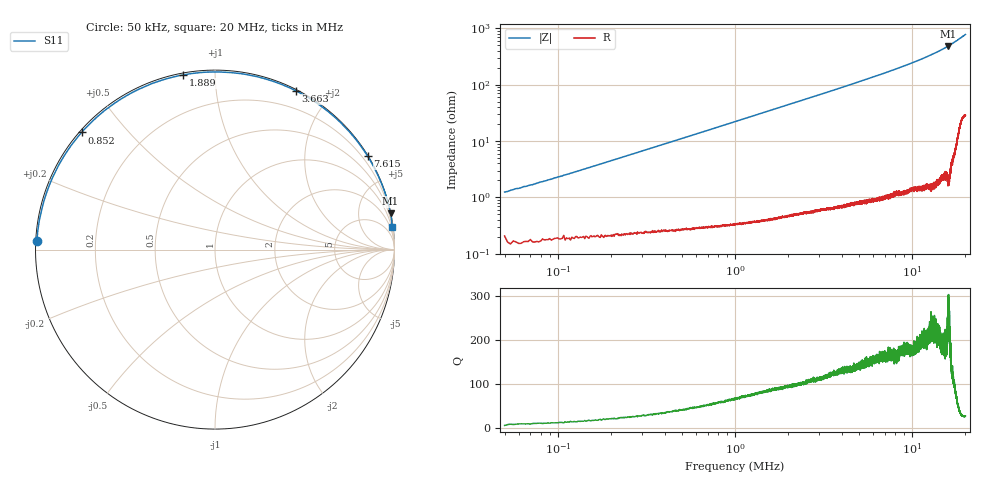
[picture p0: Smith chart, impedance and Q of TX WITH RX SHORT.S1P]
!Keysight Technologies,E5063A,MY54100949,A.07.30
!Date: Thu Dec 18 19:18:37 2025
!Data & Calibration Information:
!Freq	S11:SOLT1(ON)
# Hz S RI R 50
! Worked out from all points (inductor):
!   10001 points, 50 kHz to 20 MHz, reference 50 ohm
!   read as one part to ground: L = 3.56 uH near 149.8 kHz
!   highest Q = 258 at 15.98 MHz (marker M1), where L = 4.86 uH
!   S11 on the Smith chart (normalised r, x): 50 kHz: 0.00, +0.02; 852 kHz: 0.01, +0.38; 1.889 MHz: 0.01, +0.84; 3.663 MHz: 0.01, +1.63; 7.615 MHz: 0.02, +3.55; 20 MHz: 1, +16
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50000  -0.9906 0.0487
131795  -0.9854 0.1177
271445  -0.962 0.2369
419075  -0.924 0.3566
642515  -0.8411 0.521
851990  -0.7429 0.6526
1097375  -0.6121 0.7767
1346750  -0.4716 0.8695
1602110  -0.3285 0.933
1889390  -0.1762 0.9736
2196620  -0.0278 0.9892
2543750  0.118 0.9832
2809085  0.2147 0.9678
3082400  0.3018 0.9448
3662945  0.4509 0.8844
4303340  0.572 0.8128
5037500  0.6714 0.7339
5566175  0.7248 0.6819
6140735  0.771 0.6304
7531250  0.8469 0.5253
7615040  0.8507 0.5199
8686355  0.8871 0.4559
1.0025e7  0.9182 0.3902
1.251875e7  0.9535 0.2966
1.50125e7  0.9728 0.2265
1.597608e7  0.9785 0.2027
1.750625e7  0.9833 0.1705
2e7  0.9872 0.1268
